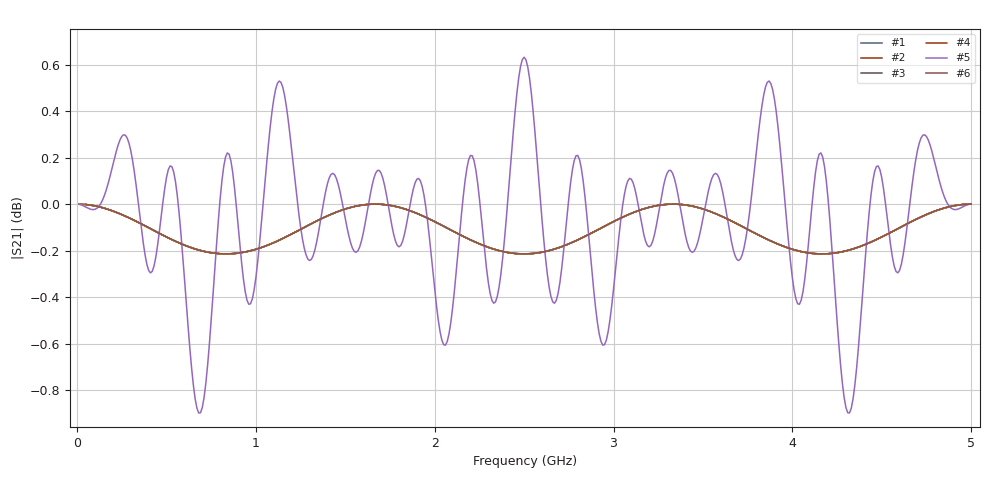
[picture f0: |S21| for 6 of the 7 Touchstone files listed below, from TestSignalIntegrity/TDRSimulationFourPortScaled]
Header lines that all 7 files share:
# MHz MA S R 50.0
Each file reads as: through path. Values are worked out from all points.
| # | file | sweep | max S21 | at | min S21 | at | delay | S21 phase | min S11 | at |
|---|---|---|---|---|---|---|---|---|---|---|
| 1 | TestSPARQFourPortScaled_testTDRTwoPort_Actual.s2p | 47.17 MHz to 5 GHz | 0.00 dB | 5 GHz | -0.2 dB | 2.5 GHz | 300 ps | 85 deg at 2.547 GHz | -43.5 dB | 1.651 GHz |
| 2 | TestSPARQFourPortScaled_testTDRTwoPort_Calc.s2p | 47.17 MHz to 5 GHz | 0.00 dB | 5 GHz | -0.2 dB | 2.5 GHz | 300 ps | 85 deg at 2.547 GHz | -86.4 dB | 5 GHz |
| 3 | TestSPARQFourPortScaled_testVNATwoPortTransferThruBAInv_Actual.s2p | 10 MHz to 5 GHz | 0.00 dB | 5 GHz | -0.2 dB | 2.5 GHz | 300 ps | 89 deg at 2.51 GHz | -57.0 dB | 1.67 GHz |
| 4 | TestSPARQFourPortScaled_testVNATwoPortTransferThruBAInv_Calc.s2p | 10 MHz to 5 GHz | 0.00 dB | 5 GHz | -0.2 dB | 2.5 GHz | 300 ps | 89 deg at 2.51 GHz | -94.0 dB | 5 GHz |
| 5 | TestSPARQFourPortScaled_testVNATwoPortTransferThruDiagonalA_Calc.s2p | 10 MHz to 5 GHz | 0.63 dB | 2.5 GHz | -0.9 dB | 680 MHz | 300 ps | 88 deg at 2.51 GHz | -38.6 dB | 1.4 GHz |
| 6 | TestSPARQFourPortScaledTest_testTDRTwoPortStepsTransferThru_Calc.s2p | 50 MHz to 5 GHz | 0.00 dB | 3.35 GHz | -0.2 dB | 2.5 GHz | 300 ps | 85 deg at 2.55 GHz | -76.9 dB | 5 GHz |
| 7 | TestSPARQFourPortScaledTest_testVNATwoPortBAInverse_Calc.s2p | 10 MHz to 5 GHz | 0.00 dB | 5 GHz | -0.2 dB | 2.5 GHz | 300 ps | 89 deg at 2.51 GHz | -57.0 dB | 1.67 GHz |
